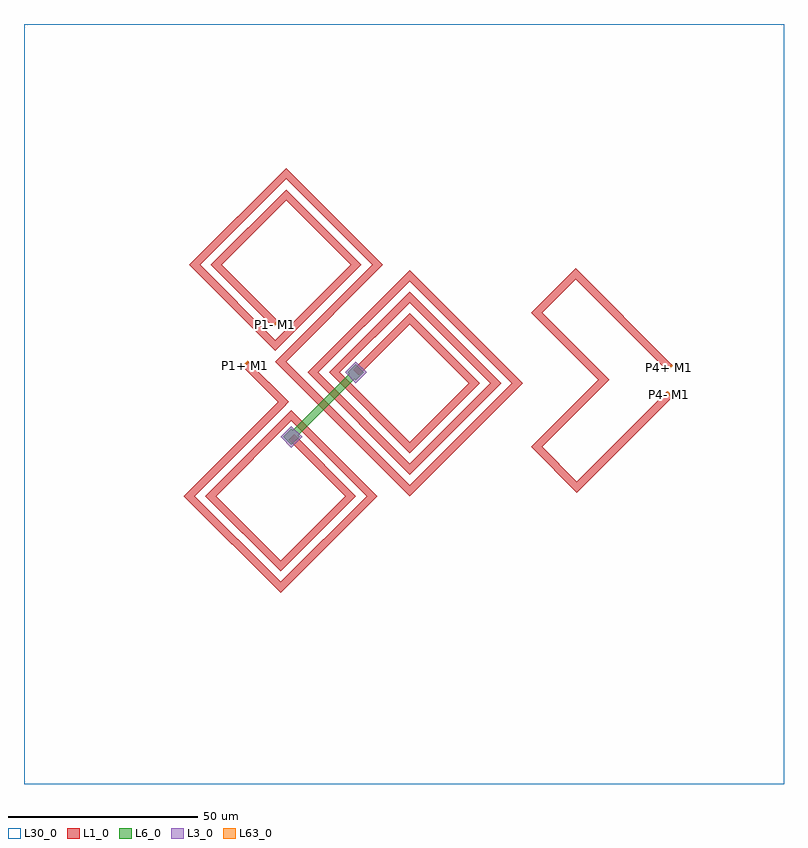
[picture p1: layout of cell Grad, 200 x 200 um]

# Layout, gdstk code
from math import pi, radians
import gdstk
lib = gdstk.Library(unit=1e-6, precision=1e-09)
def R(c, l, rs):  # rectangles x0, y0, x1, y1
    for r in rs: c.add(gdstk.rectangle(r[:2], r[2:], *l))
def P(c, l, *ps):  # polygons
    for p in ps: c.add(gdstk.Polygon(p, *l))
L1_0 = (1, 0)
L3_0 = (3, 0)
L6_0 = (6, 0)
L30_0 = (30, 0)
L63_0 = (63, 0)

squarespiral = lib.new_cell('SquareSpiral')
squarespiral.add(gdstk.FlexPath([(-9,12),(11,12),(11,-12),(-13,-12),(-13,16),(15,16),(15,-16),(-17,-16),(-17,20),(19,20),(19,-20),(-21,-20),(-21,21)], 2, ends="flush", simple_path=True, layer=1, datatype=0))  # L1_0

squarespiral_2 = lib.new_cell('SquareSpiral$2')
squarespiral_2.add(gdstk.FlexPath([(-10,13),(12,13),(12,-13),(-14,-13),(-14,17),(16,17),(16,-17),(-18,-17),(-18,18)], 2, ends="flush", simple_path=True, layer=1, datatype=0))  # L1_0

bias = lib.new_cell('Bias')
bias.add(gdstk.FlexPath([(19.75,-15),(19.75,20),(5.25,20),(5.25,-5),(-19.75,-5),(-19.75,-20),(14.75,-20)], 2, ends="flush", simple_path=True, layer=1, datatype=0))  # L1_0
bias.add(gdstk.FlexPath([(14.75,-19),(14.75,-21)], 0.5, ends="flush", simple_path=True, layer=63, datatype=0))  # L63_0
bias.add(gdstk.FlexPath([(18.75,-15),(20.75,-15)], 0.5, ends="flush", simple_path=True, layer=63, datatype=0))  # L63_0

grad = lib.new_cell('Grad')
P(grad, L3_0, [(-12.651,5.485),(-15.479,8.313),(-12.651,11.142),(-9.822,8.313)],
  [(-29.621,-11.486),(-32.45,-8.657),(-29.621,-5.829),(-26.793,-8.657)])
P(grad, L6_0, [(-29.621,-10.779),(-31.742,-8.657),(-29.621,-6.536),(-27.5,-8.657)],
  [(-12.651,6.192),(-14.772,8.313),(-12.651,10.435),(-10.529,8.313)])
R(grad, L30_0, [(-100,-100,100,100)])
grad.add(gdstk.FlexPath([(-27.5,6.192),(-33.154,11.846)], 2, ends="flush", simple_path=True, layer=1, datatype=0))  # L1_0
grad.add(gdstk.FlexPath([(-31.035,-0.172),(-41.642,10.435)], 2, ends="flush", simple_path=True, layer=1, datatype=0))  # L1_0
grad.add(gdstk.FlexPath([(-42.349,9.727),(-40.935,11.142)], 0.5, ends="flush", simple_path=True, layer=63, datatype=0))  # L63_0
grad.add(gdstk.FlexPath([(-34.571,20.334),(-33.157,21.748)], 0.5, ends="flush", simple_path=True, layer=63, datatype=0))  # L63_0
grad.add(gdstk.FlexPath([(-11.943,9.02),(-30.328,-9.364)], 2, ends="flush", simple_path=True, layer=6, datatype=0))  # L6_0
grad.add(gdstk.Reference(squarespiral, (2.199,6.192), rotation=radians(45)))
grad.add(gdstk.Reference(squarespiral_2, (-31.742,-24.921), rotation=radians(315)))
grad.add(gdstk.Reference(squarespiral_2, (-31.742,37.305), rotation=radians(135)))
grad.add(gdstk.Reference(bias, (45.332,6.192), rotation=radians(45)))
grad.add(gdstk.Label('P1- M1', (-33.864,21.041), layer=64, texttype=0))
grad.add(gdstk.Label('P1+ M1', (-41.819,10.258), layer=64, texttype=0))
grad.add(gdstk.Label('P4+ M1', (69.904,9.551), layer=64, texttype=0))
grad.add(gdstk.Label('P4- M1', (69.904,2.48), layer=64, texttype=0))

lib.write_gds('Grad.gds')
